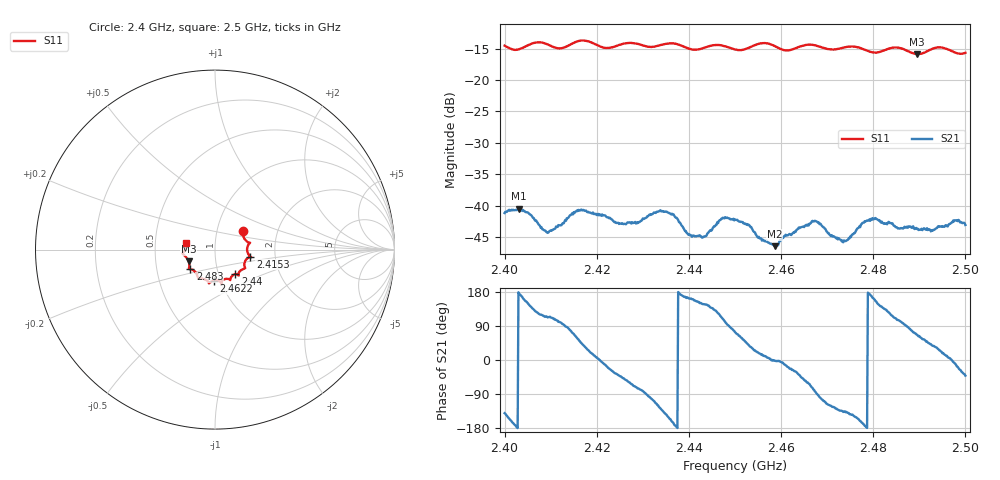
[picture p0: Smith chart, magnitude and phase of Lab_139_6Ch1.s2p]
# Hz S RI R 50
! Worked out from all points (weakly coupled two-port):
!   601 points, 2.4 GHz to 2.5 GHz, reference 50 ohm
!   highest |S21| = -40.45 dB at 2.4032 GHz (marker M1); lowest = -46.4 dB at 2.4587 GHz (marker M2)
!   lowest |S11| = -15.9 dB at 2.4895 GHz (marker M3), VSWR 1.38, Z = 36.9 - j5.01 ohm
!   |S11| at or under -10 dB: start of sweep to end of sweep
!   S12 and S22 are empty: the file has one direction only
!   S11 on the Smith chart (normalised r, x): 2.4 GHz: 1.33, +0.29; 2.4153 GHz: 1.48, -0.12; 2.44 GHz: 1.20, -0.34; 2.4622 GHz: 0.93, -0.33; 2.483 GHz: 0.74, -0.17; 2.5 GHz: 0.72, +0.06
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2.4e9  0.1549 0.106  -0.00673 -0.0056  0 0  0 0
2.403167e9  0.1663 0.0576  -0.00945 0.000907  0 0  0 0
2.409333e9  0.1895 0.0321  -0.00232 0.00563  0 0  0 0
2.415333e9  0.1965 -0.0386  0.00394 0.00806  0 0  0 0
2.416667e9  0.2019 -0.0425  0.00666 0.00653  0 0  0 0
2.425833e9  0.167 -0.1003  0.00476 -0.00533  0 0  0 0
2.433333e9  0.131 -0.1342  -0.00451 -0.00779  0 0  0 0
2.436833e9  0.1317 -0.1439  -0.00822 -0.00124  0 0  0 0
2.44e9  0.1138 -0.1367  -0.0057 0.00173  0 0  0 0
2.443333e9  0.0878 -0.1578  -0.00475 0.0031  0 0  0 0
2.447e9  0.0842 -0.1691  -0.00318 0.0072  0 0  0 0
2.45e9  0.0646 -0.1628  0.00219 0.00747  0 0  0 0
2.458667e9  0.0334 -0.1831  0.00477 -0.000166  0 0  0 0
2.462167e9  -0.00733 -0.1739  0.00538 -0.00228  0 0  0 0
2.466667e9  -0.0342 -0.1877  0.0023 -0.00715  0 0  0 0
2.473667e9  -0.0855 -0.1604  -0.00384 -0.00366  0 0  0 0
2.478667e9  -0.1016 -0.1377  -0.00765 -8.35e-05  0 0  0 0
2.483e9  -0.1374 -0.1095  -0.0045 0.00553  0 0  0 0
2.483333e9  -0.1398 -0.1092  -0.00437 0.00603  0 0  0 0
2.4895e9  -0.1464 -0.0661  0.00258 0.006  0 0  0 0
2.494167e9  -0.1806 -0.0223  0.00607 0.00325  0 0  0 0
2.5e9  -0.1599 0.0392  0.00529 -0.00463  0 0  0 0
